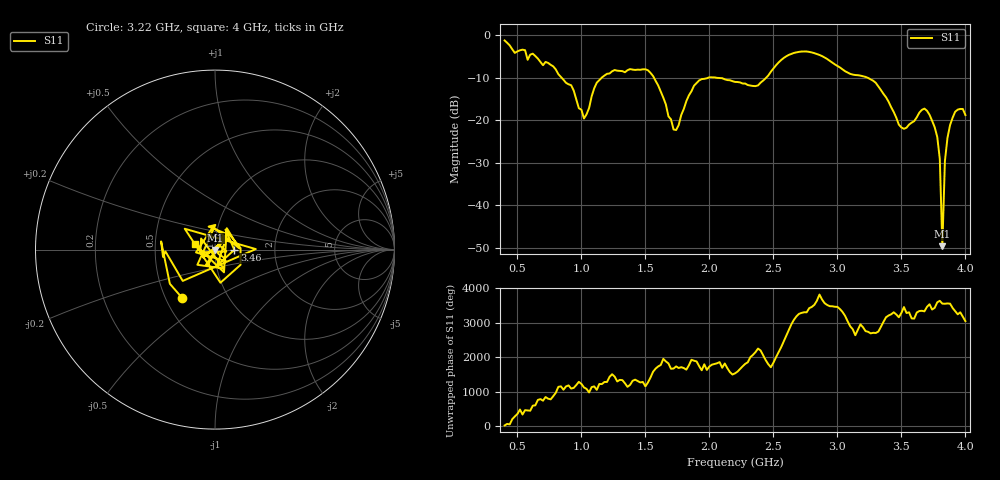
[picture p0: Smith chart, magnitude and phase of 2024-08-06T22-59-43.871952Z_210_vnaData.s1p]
!Created with skrf (http://scikit-rf.org).
# Hz S RI R 50.0
!freq ReS11 ImS11
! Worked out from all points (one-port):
!   181 points, 400 MHz to 4 GHz, reference 50 ohm
!   lowest |S11| = -49.6 dB at 3.82 GHz (marker M1), VSWR 1.01, Z = 50.2 - j0.246 ohm
!   |S11| at or under -10 dB: 1.567 GHz to 1.988 GHz (420.5 MHz wide, 23.7 % of centre); 2.062 GHz to 2.442 GHz (380.2 MHz wide, 16.9 % of centre); 3.238 GHz to end of sweep (the widest 3 of 4)
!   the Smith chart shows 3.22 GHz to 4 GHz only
!   S11 on the Smith chart (normalised r, x): 3.22 GHz: 0.61, -0.36; 3.46 GHz: 1.24, -0.00; 4 GHz: 0.80, +0.05
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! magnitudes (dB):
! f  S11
! 400 MHz  -1.2
! 860 MHz  -10.4
! 920 MHz  -11.7
! 1.02 GHz  -19.6
! 1.12 GHz  -11.1
! 1.3 GHz  -8.4
! 1.52 GHz  -8.2
! 1.6 GHz  -11.8
! 1.72 GHz  -22.1
! 1.76 GHz  -21.1
! 1.92 GHz  -10.6
! 2.2 GHz  -11.0
! 2.38 GHz  -11.8
! 2.66 GHz  -4.1
! 2.86 GHz  -4.6
! 3.1 GHz  -9.1
! 3.22 GHz  -9.8
! 3.3 GHz  -11.2
! 3.46 GHz  -19.4
! 3.56 GHz  -21.0
! 3.68 GHz  -17.2
! 3.76 GHz  -21.6
! 3.8 GHz  -29.0
! 3.82 GHz  -49.6
! 3.84 GHz  -29.5
! 3.86 GHz  -24.1
! 3.92 GHz  -18.0
! 4 GHz  -18.7
